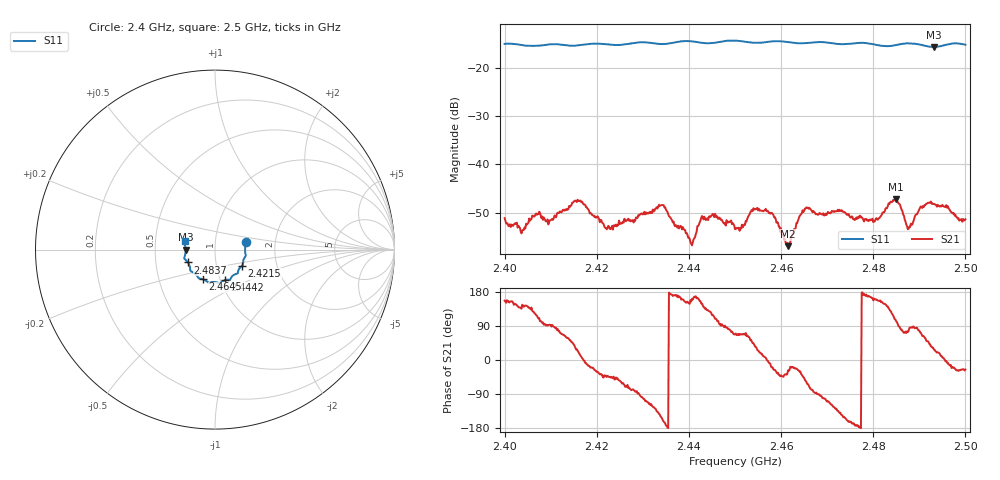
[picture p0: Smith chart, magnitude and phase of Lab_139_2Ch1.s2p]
# Hz S RI R 50
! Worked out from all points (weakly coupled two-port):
!   601 points, 2.4 GHz to 2.5 GHz, reference 50 ohm
!   highest |S21| = -47.17 dB at 2.4848 GHz (marker M1); lowest = -56.9 dB at 2.4615 GHz (marker M2)
!   lowest |S11| = -15.7 dB at 2.4932 GHz (marker M3), VSWR 1.39, Z = 35.9 - j0.0631 ohm
!   |S11| at or under -10 dB: start of sweep to end of sweep
!   S12 and S22 are empty: the file has one direction only
!   S11 on the Smith chart (normalised r, x): 2.4 GHz: 1.41, +0.12; 2.4215 GHz: 1.33, -0.25; 2.4442 GHz: 1.05, -0.37; 2.4645 GHz: 0.83, -0.29; 2.4837 GHz: 0.73, -0.11; 2.5 GHz: 0.71, +0.07
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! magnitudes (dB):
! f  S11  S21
! 2.4 GHz  -15.1  -51.1
! 2.404 GHz  -15.4  -53.5
! 2.4072 GHz  -15.5  -50.2
! 2.41 GHz  -15.2  -51.5
! 2.4167 GHz  -15.3  -47.8
! 2.4215 GHz  -15.1  -52.3
! 2.4333 GHz  -15.1  -48.8
! 2.4405 GHz  -14.5  -56.4
! 2.4425 GHz  -14.8  -51.6
! 2.4442 GHz  -15.0  -51.5
! 2.45 GHz  -14.4  -53.4
! 2.4568 GHz  -14.7  -49.7
! 2.4615 GHz  -14.7  -56.9
! 2.4645 GHz  -15.0  -50.1
! 2.4667 GHz  -14.8  -49.6
! 2.48 GHz  -15.2  -51.9
! 2.4833 GHz  -15.6  -48.1
! 2.4837 GHz  -15.5  -47.8
! 2.4848 GHz  -15.4  -47.2
! 2.4877 GHz  -15.0  -53.3
! 2.4932 GHz  -15.7  -48.2
! 2.5 GHz  -15.3  -51.3
